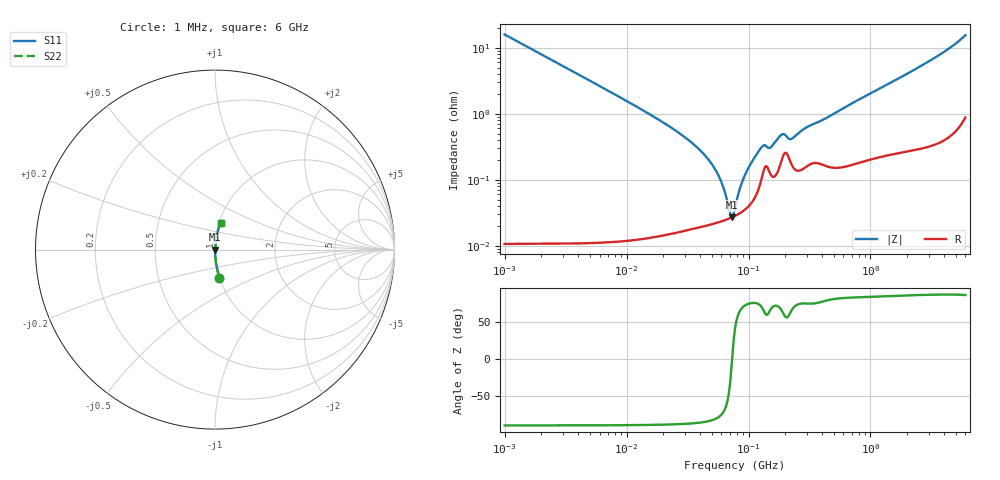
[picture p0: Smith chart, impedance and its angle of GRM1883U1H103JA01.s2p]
!Murata Part Number: GRM1883U1H103JA01
!These Parameters are Measured in Series Mode Connection
!Data Generated on Mar 30, 2021
!  o--ll--o
!Port1  Port2
!  o------o
!Operation Temp=25[degC], DC Bias Voltage=0[V]
!Freq. Start=1000[kHz] Stop=6[GHz] 401[Steps]
# Hz S RI R 50
!Freq.(Hz) S11(Real) S11(Imag) S21(Real) S21(Imag) S12(Real) S12(Imag) S22(Real) S22(Imag)
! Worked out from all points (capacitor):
!   401 points, 1 MHz to 6 GHz, reference 50 ohm
!   read as one part in series: C = 9.98 nF near 1.044 MHz
!   lowest |Z| = 27.1 mohm at 72.57 MHz (marker M1)
!   series resonance near 73.31 MHz, so ESL is about 470 pH
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1000000  0.0249 -0.1555  0.9751 0.1555  0.9751 0.1555  0.0249 -0.1555
4293785  0.00148 -0.037  0.9985 0.037  0.9985 0.037  0.00148 -0.037
1.843659e7  0.000204 -0.00808  0.9998 0.00808  0.9998 0.00808  0.000204 -0.00808
3.245342e7  0.000189 -0.00394  0.9998 0.00394  0.9998 0.00394  0.000189 -0.00394
4.697123e7  0.000209 -0.002  0.9998 0.002  0.9998 0.002  0.000209 -0.002
5.838291e7  0.000231 -0.00101  0.9998 0.00101  0.9998 0.00101  0.000231 -0.00101
6.368941e7  0.000243 -0.000621  0.9998 0.000621  0.9998 0.000621  0.000243 -0.000621
6.947823e7  0.000258 -0.000237  0.9997 0.000237  0.9997 0.000237  0.000258 -0.000237
7.256705e7  0.000267 -4.5e-05  0.9997 4.5e-05  0.9997 4.5e-05  0.000267 -4.5e-05
7.416259e7  0.000272 5.17e-05  0.9997 -5.17e-05  0.9997 -5.17e-05  0.000272 5.17e-05
7.745967e7  0.000283 0.000246  0.9997 -0.000246  0.9997 -0.000246  0.000283 0.000246
8.450008e7  0.000309 0.000643  0.9997 -0.000643  0.9997 -0.000643  0.000309 0.000643
9.420718e7  0.000357 0.00116  0.9996 -0.00116  0.9996 -0.00116  0.000357 0.00116
1.073387e8  0.000465 0.00185  0.9995 -0.00185  0.9995 -0.00185  0.000465 0.00185
1.277378e8  0.00103 0.00292  0.999 -0.00292  0.999 -0.00292  0.00103 0.00292
1.520136e8  0.0012 0.00286  0.9988 -0.00286  0.9988 -0.00286  0.0012 0.00286
1.889453e8  0.00211 0.0044  0.9979 -0.0044  0.9979 -0.0044  0.00211 0.0044
2.248532e8  0.00173 0.00378  0.9983 -0.00378  0.9983 -0.00378  0.00173 0.00378
3.325952e8  0.0018 0.00662  0.9982 -0.00662  0.9982 -0.00662  0.0018 0.00662
1.428092e9  0.00318 0.0286  0.9968 -0.0286  0.9968 -0.0286  0.00318 0.0286
3.483508e9  0.00878 0.0725  0.9912 -0.0725  0.9912 -0.0725  0.00878 0.0725
6e9  0.0316 0.1489  0.9684 -0.1489  0.9684 -0.1489  0.0316 0.1489
